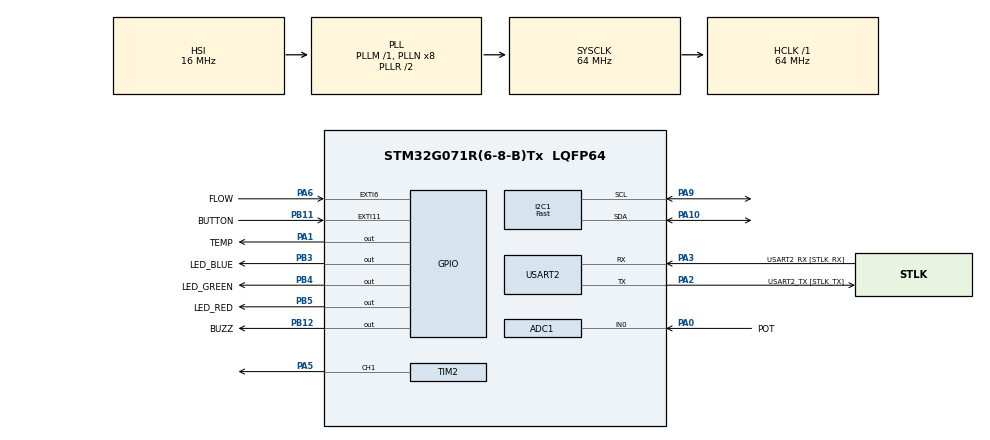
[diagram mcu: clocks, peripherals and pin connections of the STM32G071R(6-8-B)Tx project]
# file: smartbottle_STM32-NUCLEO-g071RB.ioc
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ADC1.Channel-0\#ChannelRegularConversion=ADC_CHANNEL_0
ADC1.ContinuousConvMode=ENABLE
ADC1.NbrOfConversionFlag=1
ADC1.Rank-0\#ChannelRegularConversion=1
ADC1.Resolution=ADC_RESOLUTION_6B
ADC1.SamplingTime-0\#ChannelRegularConversion=ADC_SAMPLINGTIME_COMMON_1
ADC1.SelectedChannel=ADC_CHANNEL_0
ADC1.master=1
I2C1.I2C_Speed_Mode=I2C_Fast
I2C1.Timing=0x00602173
Mcu.Family=STM32G0
Mcu.Name=STM32G071R(6-8-B)Tx
Mcu.Package=LQFP64
NVIC.EXTI4_15_IRQn=true\:0\:0\:false\:false\:true\:true\:true\:true
NVIC.RTC_TAMP_IRQn=true\:0\:0\:false\:false\:true\:true\:true\:true
PA0.GPIO_Label=POT
PA0.Mode=IN0
PA0.Signal=ADC1_IN0
PA1.GPIO_Label=TEMP
PA1.Signal=GPIO_Output
PA10.Mode=I2C
PA10.Signal=I2C1_SDA
PA13.GPIO_Label=TMS
PA13.Mode=Serial_Wire
PA13.Signal=SYS_SWDIO
PA14-BOOT0.GPIO_Label=TCK
PA14-BOOT0.Mode=Serial_Wire
PA14-BOOT0.Signal=SYS_SWCLK
PA2.GPIO_Label=USART2_TX [STLK_TX]
PA2.GPIO_PuPd=GPIO_PULLUP
PA2.Mode=Asynchronous
PA2.Signal=USART2_TX
PA3.GPIO_Label=USART2_RX [STLK_RX]
PA3.GPIO_PuPd=GPIO_PULLUP
PA3.Mode=Asynchronous
PA3.Signal=USART2_RX
PA5.Signal=S_TIM2_CH1_ETR
PA6.GPIO_Label=FLOW
PA6.Signal=GPXTI6
PA9.Mode=I2C
PA9.Signal=I2C1_SCL
PB11.GPIO_Label=BUTTON
PB11.GPIO_ModeDefaultEXTI=GPIO_MODE_IT_FALLING
PB11.Signal=GPXTI11
PB12.GPIO_Label=BUZZ
PB12.Signal=GPIO_Output
PB3.GPIO_Label=LED_BLUE
PB3.Signal=GPIO_Output
PB4.GPIO_Label=LED_GREEN
PB4.Signal=GPIO_Output
PB5.GPIO_Label=LED_RED
PB5.Signal=GPIO_Output
PC14-OSC32_IN\ (PC14).Mode=LSE-External-Oscillator
PC14-OSC32_IN\ (PC14).Signal=RCC_OSC32_IN
PC15-OSC32_OUT\ (PC15).Mode=LSE-External-Oscillator
PC15-OSC32_OUT\ (PC15).Signal=RCC_OSC32_OUT
PF0-OSC_IN\ (PF0).GPIO_Label=MCO
PF0-OSC_IN\ (PF0).Mode=HSE-External-Oscillator
PF0-OSC_IN\ (PF0).Signal=RCC_OSC_IN
PF1-OSC_OUT\ (PF1).Mode=HSE-External-Oscillator
PF1-OSC_OUT\ (PF1).Signal=RCC_OSC_OUT
ProjectManager.HeapSize=0x200
ProjectManager.StackSize=0x400
ProjectManager.TargetToolchain=STM32CubeIDE
RCC.ADCFreq_Value=64000000
RCC.AHBFreq_Value=64000000
RCC.CortexFreq_Value=64000000
RCC.EXTERNAL_CLOCK_VALUE=12288000
RCC.HCLKFreq_Value=64000000
RCC.HSE_VALUE=8000000
RCC.HSI_VALUE=16000000
RCC.SYSCLKFreq_VALUE=64000000
RCC.SYSCLKSource=RCC_SYSCLKSOURCE_PLLCLK
RCC.VCOOutputFreq_Value=128000000
RTC.Alarm-Alarm\ A=RTC_ALARM_A
SH.S_TIM2_CH1_ETR.0=TIM2_CH1,PWM Generation1 CH1
TIM2.AutoReloadPreload=TIM_AUTORELOAD_PRELOAD_DISABLE
TIM2.Channel-PWM\ Generation1\ CH1=TIM_CHANNEL_1
TIM2.Period=0
TIM2.Prescaler=3200-1
TIM2.Pulse-PWM\ Generation1\ CH1=0
TIM6.Prescaler=63
USART2.VirtualMode-Asynchronous=VM_ASYNC
VP_RTC_VS_RTC_Activate.Mode=RTC_Enabled
VP_RTC_VS_RTC_Alarm_A_Intern.Mode=Alarm A
VP_RTC_VS_RTC_Calendar.Mode=RTC_Calendar
VP_TIM2_VS_ClockSourceINT.Mode=Internal
VP_TIM6_VS_ClockSourceINT.Mode=Enable_Timer
board=NUCLEO-G071RB

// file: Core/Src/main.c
/* USER CODE BEGIN Header */
/**
  ******************************************************************************
  * @file           : main.c
  * @brief          : Main program body
  ******************************************************************************
  * @attention
  *
  * Copyright (c) 2023 STMicroelectronics.
  * All rights reserved.
  *
  * This software is licensed under terms that can be found in the LICENSE file
  * in the root directory of this software component.
  * If no LICENSE file comes with this software, it is provided AS-IS.
  *
  ******************************************************************************
  */
/* USER CODE END Header */
#include "main.h"
#include "adc.h"
#include "i2c.h"
#include "rtc.h"
#include "tim.h"
#include "usart.h"
#include "gpio.h"

/* USER CODE BEGIN Includes */
#include "ssd1306.h"
#include "ds18b20.h"
#include "melody.h"
#include <string.h>
#include <stdio.h>
#include <stdlib.h>

/* USER CODE END Includes */

/* USER CODE BEGIN PD */
#define MAX_TEMP 25
#define MIN_TEMP 21
#define CPU_FREQ 64000000
#define PRESCALER 3200
#define TEMPO 	108           // change this to make the song slower or faster

										// notes of the melody followed by the duration.
										// a 4 means a quarter note, 8 an eighteenth , 16 sixteenth, so on
										// !!negative numbers are used to represent dotted notes,
										// so -4 means a dotted quarter note, that is, a quarter plus an eighteenth!!
#define DOTNOTE 1.5					// increases the duration in half for dotted notes
/* USER CODE END PD */

/* USER CODE BEGIN PV */
uint8_t Menu_Stage_1 = 0;
uint8_t Menu_Stage_2 = 0;
float Flow;
float water;

int dash = 0;
uint8_t led = 1;
uint8_t hour;
uint8_t alarm;

uint8_t menu;

uint8_t sel = 0;
uint8_t time;

/*uint32_t counter = 0;
uint32_t prev_counter = 0;*/
uint16_t value;

float Temperature = 0;
float waterVolume = 2;
char string_buff[10];

/* USER CODE END PV */

void SystemClock_Config(void);

/* USER CODE BEGIN 0 */

void setTimeInterval ();
void setVolume();
void setLed();
void setAlarm(uint8_t);
void getValueADC (uint8_t max_state);
void ssd1306_DrawLedStatus(uint8_t);

void updateMenu()
{
	ssd1306_DrawMenu(sel);
}

void execCommandSelect()
{
	if (Menu_Stage_1 == 1 && Menu_Stage_2 == 1)
	switch(sel)
		{
			case 0:
				setTimeInterval();
			break;

			case 1:
				setLed();
			break;

			case 2:
				setVolume();

			break;

			case 3:
				//exit menu;
				Menu_Stage_1 = 0;
				Menu_Stage_2 = 0;
				menu = 0;
				dash = 0;
				ssd1306_UpdateScreen();
				ssd1306_Fill(Black);
			break;

		}
}

void setTimeInterval (){
	ssd1306_Fill(Black);

			while (1){
				getValueADC(12);
				hour = sel;
				time = hour;
				setAlarm(hour);
				sprintf(string_buff, "%d", hour);
				ssd1306_DrawIntervalStatus(string_buff);
				if(Menu_Stage_2 == 0)
					break;
			}
}

void setVolume(){
		ssd1306_Fill(Black);

		while (1){
			getValueADC(5);
			waterVolume = sel;
			sprintf(string_buff, "%.f", waterVolume);
			ssd1306_DrawVolumeStatus(string_buff);
			if(Menu_Stage_2 == 0)
				break;
		}

}
void setLed(){

	ssd1306_Fill(Black);
			while (1){
				getValueADC(1);
				led = sel;
				ssd1306_DrawLedStatus(led);
				if(Menu_Stage_2 == 0)
					break;
			}
}

void getValueADC (uint8_t max_state){
	uint8_t prescalar = 63 / max_state;
	HAL_ADC_PollForConversion(&hadc1,1000);
	sel = (uint8_t)HAL_ADC_GetValue(&hadc1)/prescalar;
}

void setAlarm(uint8_t x){

	RTC_TimeTypeDef sTime = {0};
	RTC_AlarmTypeDef sAlarm = {0};

	sTime.Hours = 0x0;
	sTime.Minutes = 0x0;
	sTime.Seconds = 0x0;
	sTime.SubSeconds = 0x0;
	sTime.DayLightSaving = RTC_DAYLIGHTSAVING_NONE;
	sTime.StoreOperation = RTC_STOREOPERATION_RESET;
	  if (HAL_RTC_SetTime(&hrtc, &sTime, RTC_FORMAT_BCD) != HAL_OK)
	  {
	    Error_Handler();
	  }

	  /** Enable the Alarm A
	  */
	  sAlarm.AlarmTime.Hours = 0x0;
	  sAlarm.AlarmTime.Minutes = x;
	  sAlarm.AlarmTime.Seconds = 0x0;
	  sAlarm.AlarmTime.SubSeconds = 0x0;
	  sAlarm.AlarmTime.DayLightSaving = RTC_DAYLIGHTSAVING_NONE;
	  sAlarm.AlarmTime.StoreOperation = RTC_STOREOPERATION_RESET;
	  sAlarm.AlarmMask = RTC_ALARMMASK_NONE;
	  sAlarm.AlarmSubSecondMask = RTC_ALARMSUBSECONDMASK_ALL;
	  sAlarm.AlarmDateWeekDaySel = RTC_ALARMDATEWEEKDAYSEL_DATE;
	  sAlarm.AlarmDateWeekDay = 0x1;
	  sAlarm.Alarm = RTC_ALARM_A;
	  if (HAL_RTC_SetAlarm_IT(&hrtc, &sAlarm, RTC_FORMAT_BCD) != HAL_OK)
	  {
	    Error_Handler();
	  }

}

void BuzzerPlayNote(int newFreq, int NoteDurationMs)
{

	HAL_TIM_PWM_Start(&htim2,TIM_CHANNEL_1);
	TIM2->ARR  = (CPU_FREQ / PRESCALER) / newFreq;
	TIM2->CCR1 = TIM2->ARR / 2;
	for(int i=0; i<NoteDurationMs; i++){
		HAL_Delay(1);
	}

}

void playBuzzer (int melody[], int len)
{
	int divider = 0;
	int noteDuration = 0;
	int tempo = melody[0];
	int wholeNote = (60000 * 4) / tempo;	// this calculates the duration of a whole note in ms (60s/tempo)*4 beats

	for (int i = 1; i <= len; i+=2)
	{
		divider = melody[i+1];
		if (divider > 0)
		{
			noteDuration = (wholeNote) / divider;
		}else if(divider < 0)
		{
			noteDuration = (wholeNote) / abs(divider);
			noteDuration *= DOTNOTE;
		}

		BuzzerPlayNote(melody[i], noteDuration);
		HAL_TIM_PWM_Stop(&htim2,TIM_CHANNEL_1);
	}
}

/* USER CODE END 0 */

int main(void)
{

  /* MCU Configuration--------------------------------------------------------*/

  /* Reset of all peripherals, Initializes the Flash interface and the Systick. */
  HAL_Init();

  /* Configure the system clock */
  SystemClock_Config();

  /* Initialize all configured peripherals */
  MX_GPIO_Init();
  MX_TIM6_Init();
  MX_I2C1_Init();
  MX_ADC1_Init();
  MX_RTC_Init();
  MX_TIM2_Init();
  MX_USART2_UART_Init();
  /* USER CODE BEGIN 2 */
  HAL_TIM_Base_Start(&htim6);
  HAL_ADC_Start(&hadc1);
  ssd1306_Init();
  //ssd1306_TestDrawUTM();

  /* USER CODE END 2 */

  /* Infinite loop */
  while (1)
  {

    /* USER CODE BEGIN 3 */
	  if (dash == 0 ){
	 	  	ssd1306_DrawDashboard();
	 	  	dash++;
	 	  }

	 	  if(Menu_Stage_1 == 1)
	 		  menu = 1;

	 	  while (menu){
	 		  getValueADC(3);
	 		  updateMenu();
	 		  execCommandSelect();

	 	  }

	 	  Temperature = DS18B20_Get_Temperature();

	 	  sprintf(string_buff, "%.1f", Temperature);

	 	  HAL_Delay(50);

	 	  ssd1306_SetCursor(81, 7);

	 	  ssd1306_WriteString(string_buff, Font_7x10,White);

	 	  sprintf(string_buff, "%.2f", waterVolume);
	 	  ssd1306_SetCursor(81, 28);
	 	  ssd1306_WriteString(string_buff, Font_7x10,White);

	 	  sprintf(string_buff, "%d", time);
	 	  ssd1306_SetCursor(81, 48);
	 	  ssd1306_WriteString(string_buff, Font_7x10,White);
	 	  ssd1306_UpdateScreen();

	 	  waterVolume -= water/1000;
	 	  water = 0;

	 	 if (led){
	 	 		  if (Temperature > MIN_TEMP && Temperature < MAX_TEMP )
	 	 		  	  {
	 	 		  		  //green
	 	 		  		  HAL_GPIO_WritePin(LED_BLUE_GPIO_Port, LED_BLUE_Pin, GPIO_PIN_SET);
	 	 		  		  HAL_GPIO_WritePin(LED_GREEN_GPIO_Port, LED_GREEN_Pin, GPIO_PIN_RESET);
	 	 		  		  HAL_GPIO_WritePin(LED_RED_GPIO_Port, LED_RED_Pin, GPIO_PIN_SET);
	 	 		  		  ssd1306_DrawTempIcon(2);
	 	 		  	  }
	 	 		  	  else if(Temperature >= MAX_TEMP )
	 	 		  	  {
	 	 		  		  //red
	 	 		  		  HAL_GPIO_WritePin(LED_BLUE_GPIO_Port, LED_BLUE_Pin, GPIO_PIN_SET);
	 	 		  		  HAL_GPIO_WritePin(LED_GREEN_GPIO_Port, LED_GREEN_Pin, GPIO_PIN_SET);
	 	 		  		  HAL_GPIO_WritePin(LED_RED_GPIO_Port, LED_RED_Pin, GPIO_PIN_RESET);
	 	 		  		  ssd1306_DrawTempIcon(0);

	 	 		  	  }
	 	 		  	  else
	 	 		  	  {
	 	 		  		//blue
	 	 		  		  HAL_GPIO_WritePin(LED_BLUE_GPIO_Port, LED_BLUE_Pin, GPIO_PIN_RESET);
	 	 		  		  HAL_GPIO_WritePin(LED_GREEN_GPIO_Port, LED_GREEN_Pin, GPIO_PIN_SET);
	 	 		  		  HAL_GPIO_WritePin(LED_RED_GPIO_Port, LED_RED_Pin, GPIO_PIN_SET);
	 	 		  		  ssd1306_DrawTempIcon(1);
	 	 		  	  }
	 	 	  }
	 	 	  else{
	 	 		  HAL_GPIO_WritePin(LED_BLUE_GPIO_Port, LED_BLUE_Pin, GPIO_PIN_SET);
	 	 		  HAL_GPIO_WritePin(LED_GREEN_GPIO_Port, LED_GREEN_Pin, GPIO_PIN_SET);
	 	 		  HAL_GPIO_WritePin(LED_RED_GPIO_Port, LED_RED_Pin, GPIO_PIN_SET);
	 	 		  ssd1306_DrawTempIcon(3);
	 	 	  }

	 	  if(alarm){

	 		  setAlarm(hour);
	 		  //resetTime();
	 		  playBuzzer (nokia, nokiaLen);
	 		  alarm = 0;
	 	  }
  }
  /* USER CODE END 3 */
}

void SystemClock_Config(void)
{
  RCC_OscInitTypeDef RCC_OscInitStruct = {0};
  RCC_ClkInitTypeDef RCC_ClkInitStruct = {0};

  /** Configure the main internal regulator output voltage
  */
  HAL_PWREx_ControlVoltageScaling(PWR_REGULATOR_VOLTAGE_SCALE1);

  /** Initializes the RCC Oscillators according to the specified parameters
  * in the RCC_OscInitTypeDef structure.
  */
  RCC_OscInitStruct.OscillatorType = RCC_OSCILLATORTYPE_HSI|RCC_OSCILLATORTYPE_LSI;
  RCC_OscInitStruct.HSIState = RCC_HSI_ON;
  RCC_OscInitStruct.HSIDiv = RCC_HSI_DIV1;
  RCC_OscInitStruct.HSICalibrationValue = RCC_HSICALIBRATION_DEFAULT;
  RCC_OscInitStruct.LSIState = RCC_LSI_ON;
  RCC_OscInitStruct.PLL.PLLState = RCC_PLL_ON;
  RCC_OscInitStruct.PLL.PLLSource = RCC_PLLSOURCE_HSI;
  RCC_OscInitStruct.PLL.PLLM = RCC_PLLM_DIV1;
  RCC_OscInitStruct.PLL.PLLN = 8;
  RCC_OscInitStruct.PLL.PLLP = RCC_PLLP_DIV2;
  RCC_OscInitStruct.PLL.PLLQ = RCC_PLLQ_DIV2;
  RCC_OscInitStruct.PLL.PLLR = RCC_PLLR_DIV2;
  if (HAL_RCC_OscConfig(&RCC_OscInitStruct) != HAL_OK)
  {
    Error_Handler();
  }

  /** Initializes the CPU, AHB and APB buses clocks
  */
  RCC_ClkInitStruct.ClockType = RCC_CLOCKTYPE_HCLK|RCC_CLOCKTYPE_SYSCLK
                              |RCC_CLOCKTYPE_PCLK1;
  RCC_ClkInitStruct.SYSCLKSource = RCC_SYSCLKSOURCE_PLLCLK;
  RCC_ClkInitStruct.AHBCLKDivider = RCC_SYSCLK_DIV1;
  RCC_ClkInitStruct.APB1CLKDivider = RCC_HCLK_DIV1;

  if (HAL_RCC_ClockConfig(&RCC_ClkInitStruct, FLASH_LATENCY_2) != HAL_OK)
  {
    Error_Handler();
  }
}

/* USER CODE BEGIN 4 */
void HAL_GPIO_EXTI_Falling_Callback(uint16_t GPIO_Pin){

	if (GPIO_Pin == BUTTON_Pin){
		if(Menu_Stage_1 == 0 && Menu_Stage_2 == 0){
			Menu_Stage_1 = 1;
			return;
		}
	    if(Menu_Stage_1 == 1 && Menu_Stage_2 == 0){
			Menu_Stage_2 = 1;
			return;
		}
		if(Menu_Stage_1 == 1 && Menu_Stage_2 == 1){
			Menu_Stage_2 = 0;
			return;
		}
	}

}

void HAL_RTC_AlarmAEventCallback(RTC_HandleTypeDef *hrtc)
{

	alarm = 1;

}

/* USER CODE END 4 */

void Error_Handler(void)
{
  __disable_irq();
  while (1)
  {
  }
}
